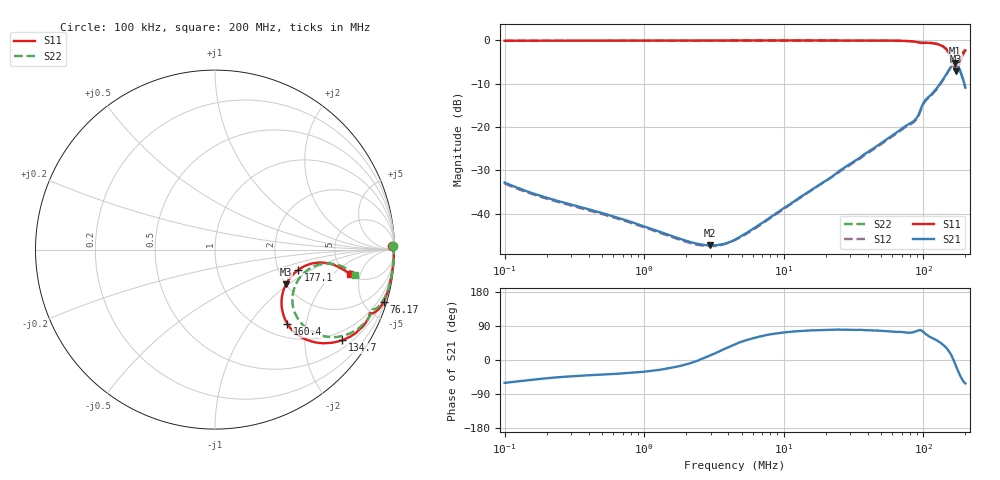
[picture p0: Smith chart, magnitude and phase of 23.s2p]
#  HZ  S  RI  R  50.00
! Rohde & Schwarz Vector Network Analyzer
! Rohde-Schwarz,ZNLE6-2Port,1323001256200024,1.71.1.10-23.02.1.238
! Created: UTC 4/8/2025, 2:50:41 AM
! freq[Hz]  re:S11  im:S11  re:S21  im:S21  re:S12  im:S12  re:S22  im:S22
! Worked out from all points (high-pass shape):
!   1001 points, 100 kHz to 200 MHz, reference 50 ohm
!   highest |S21| = -5.31 dB at 167.9 MHz (marker M1); lowest = -47.3 dB at 2.967 MHz (marker M2)
!   |S21| within 3 dB of the highest: 142.8 MHz to 189.7 MHz (46.89 MHz wide, 28.2 % of centre)
!   lowest |S11| = -7.1 dB at 171.8 MHz (marker M3), VSWR 2.57, Z = 99.9 - j48 ohm
!   |S11| at or under -10 dB: nowhere
!   |S22| runs from -6.2 to 0.0 dB; largest |S21 - S12| = 0.0099
!   S11 on the Smith chart (normalised r, x): 100 kHz: 43, +77; 76.17 MHz: 0.38, -6.57; 134.7 MHz: 0.72, -2.96; 160.4 MHz: 1.26, -1.57; 177.1 MHz: 2.56, -0.75; 200 MHz: 5.19, -3.46
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100000  0.9888 0.0197  0.0113 -0.0199  0.011 -0.0194  0.9891 0.0191
355854.1  0.991 0.00691  0.0089 -0.00782  0.00868 -0.00763  0.9915 0.00681
1266322  0.9943 -0.000272  0.00562 -0.00279  0.00548 -0.0027  0.9945 -0.000151
2222390  0.9953 -0.00485  0.00462 -0.000511  0.0045 -0.00044  0.9953 -0.00436
2966603  0.9961 -0.00762  0.00422 0.000904  0.00414 0.000888  0.9962 -0.00647
4472136  0.996 -0.0138  0.00378 0.00332  0.00371 0.0033  0.9965 -0.0115
1.591428e7  0.9949 -0.0565  0.00389 0.0187  0.00401 0.0184  0.9953 -0.0526
3.178196e7  0.9888 -0.1144  0.00741 0.0394  0.00729 0.0385  0.9898 -0.107
5.663162e7  0.9697 -0.2096  0.0184 0.0729  0.0191 0.0707  0.9726 -0.1959
7.617267e7  0.9388 -0.2916  0.0321 0.1001  0.0328 0.097  0.9421 -0.2729
8.800731e7  0.8991 -0.3424  0.0313 0.1194  0.0322 0.116  0.9109 -0.3183
9.714762e7  0.8628 -0.3542  0.0371 0.1665  0.0383 0.1622  0.8783 -0.3334
1.032382e8  0.8603 -0.3694  0.0714 0.191  0.0718 0.186  0.874 -0.3487
1.15706e8  0.8257 -0.4261  0.1283 0.2071  0.1273 0.2015  0.8421 -0.3997
1.347027e8  0.7066 -0.5056  0.2408 0.2304  0.2356 0.2259  0.7346 -0.4739
1.498273e8  0.5432 -0.5131  0.3889 0.1969  0.3843 0.1936  0.5828 -0.4751
1.604354e8  0.4039 -0.4146  0.5113 0.0795  0.5062 0.0766  0.4631 -0.3867
1.679215e8  0.3719 -0.2697  0.5376 -0.0748  0.5317 -0.079  0.4324 -0.2541
1.717946e8  0.3951 -0.1937  0.5124 -0.1566  0.5049 -0.1607  0.4545 -0.1844
1.770979e8  0.462 -0.1141  0.443 -0.245  0.4337 -0.2476  0.5171 -0.1127
1.867759e8  0.6176 -0.0743  0.2824 -0.3032  0.2728 -0.3023  0.6578 -0.0795
2e8  0.7536 -0.1376  0.1351 -0.2513  0.1284 -0.2478  0.7783 -0.1413
